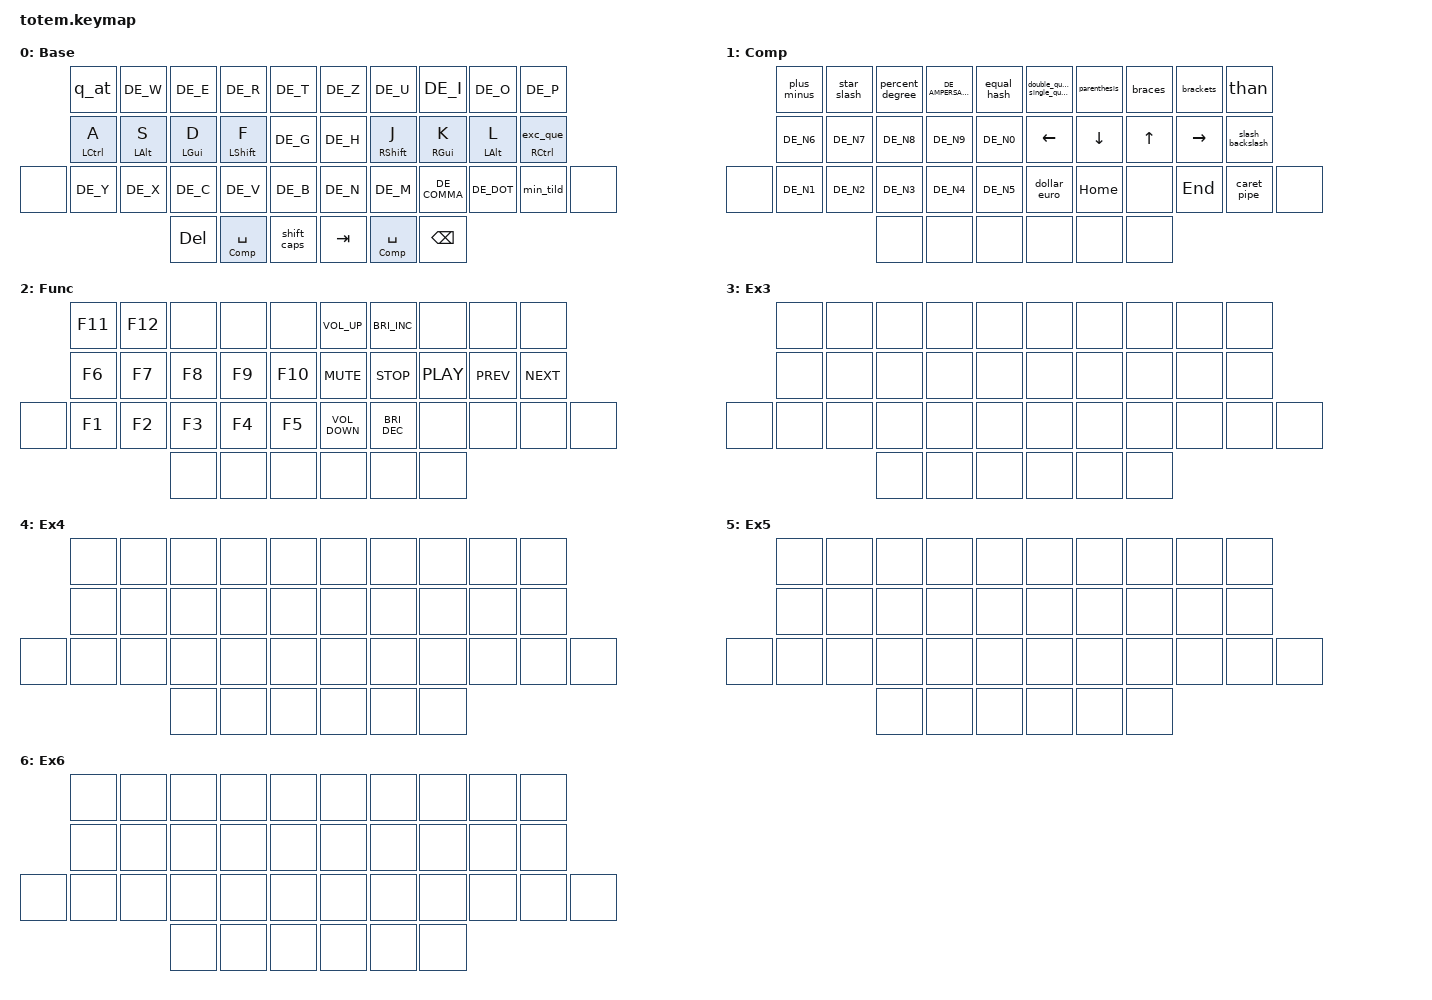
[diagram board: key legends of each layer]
//
//                                                        ▀▀▀▀▀     ▀▀▀▀▀          ▀▀█▀▀
//                                                        ▄▀▀▀▄  ▄  ▄▀▀▀▄  ▄  ▄▀▀▀▄  █  ▄▀▀▀▄
//                                                        █   █  █  █   █  █  █   █  █  █   █
//                                                         ▀▀▀   █   ▀▀▀   █   ▀▀▀   ▀   ▀▀▀
//                                                               █      ▄▄▄█▄▄▄    █   █
//                                                               ▀      █  █  █     █▄█
//                                                             ▀▀▀▀▀    █  █  █      ▀
//                                                                      ▀  ▀  ▀
//
// ▄▄▄▄▄▄▄▄▄▄▄▄▄▄▄▄▄▄▄▄▄▄▄▄▄▄▄▄▄▄▄▄▄▄▄▄▄▄▄▄▄▄▄▄▄▄▄▄▄▄▄▄▄▄▄▄▄▄▄▄▄▄▄▄▄▄▄▄▄▄▄▄▄▄▄▄▄▄▄▄▄▄▄▄▄▄▄▄▄▄▄▄▄▄▄▄▄▄▄▄▄▄▄▄▄▄▄▄▄▄▄▄▄▄▄▄▄▄▄▄▄▄▄▄▄▄▄▄▄▄▄▄▄▄▄▄▄▄▄▄▄▄▄▄▄▄▄▄▄

#include <behaviors.dtsi>
#include <dt-bindings/zmk/keys.h>
#include <dt-bindings/zmk/bt.h>
#include <dt-bindings/zmk/outputs.h>
#include <dt-bindings/zmk/ext_power.h>
#include "keys_de.h"

#define Base            0
#define Comp            1
#define Func            2
#define Ex3             3
#define Ex4             4
#define Ex5             5
#define Ex6             6

#define HM_TAPPING_TERM 300
#define HM_TAPPING_TERM_FAST 200
#define HM_PRIOR_IDLE 150

    //               0   1   2   3   4                   5   6   7   8   9
    //               10  11  12  13  14                  15  16  17  18  19
    //           20  21  22  23  24  25                  26  27  28  29  30  31
    //                       32  33  34                  35  36  37

#define KEYS_L 0 1 2 3 4 10 11 12 13 14 20 21 22 23 24 25
#define KEYS_R 5 6 7 8 9 15 16 17 18 19 26 27 28 29 30 31
#define KEYS_T 32 33 34 35 36 37

&sk {
    release-after-ms = <1000>;
    quick-release;
};

&caps_word {
    continue-list = <UNDERSCORE MINUS BSPC>;
};

/ {

    behaviors {

        macros {
           delete_word: delete_word {
                  compatible = "zmk,behavior-macro";
                  #binding-cells = <0>;
                  bindings = <&macro_press &kp RCTL>,
                             <&macro_tap &kp DELETE>,
                             <&macro_release &kp RCTL>;
           };

           backspace_word: backspace_word {
                  compatible = "zmk,behavior-macro";
                  #binding-cells = <0>;
                  bindings = <&macro_press &kp RCTL>,
                             <&macro_tap &kp BACKSPACE>,
                             <&macro_release &kp RCTL>;
           };

           krunner: krunner {
                  compatible = "zmk,behavior-macro";
                  #binding-cells = <0>;
                  bindings = <&macro_press &kp LALT>,
                             <&macro_tap &kp F2>,
                             <&macro_release &kp LALT>;
           };

           // Positional Homerow mods
           // Homerow mods that prevent accidental activations when rolling keys,
           // such as when typing `st` or `ne` on colemak-dh layouts or `as` on
           // qwerty.
           //
           // Works by only allowing a mod to activate within tapping-term if
           // it's on the opposite side of the keyboard or on the same side thumb
           // keys.

           // Further optimization using urob's timerless homerow mods method:
           // https://github.com/urob/zmk-config#timeless-homerow-mods
           hrm_l: homerow_mods_left {
               compatible = "zmk,behavior-hold-tap";
               #binding-cells = <2>;
               bindings = <&kp>,  <&kp>;

               flavor = "balanced";
               tapping-term-ms = <HM_TAPPING_TERM>;
               quick-tap-ms = <175>;                // repeat on tap-into-hold
               require-prior-idle-ms = <HM_PRIOR_IDLE>;

               hold-trigger-key-positions = <KEYS_R KEYS_T>;
               hold-trigger-on-release;
           };

           hrm_r: homerow_mods_right {
               compatible = "zmk,behavior-hold-tap";
               #binding-cells = <2>;
               bindings = <&kp>, <&kp>;

               flavor = "balanced";
               tapping-term-ms = <HM_TAPPING_TERM>;
               quick-tap-ms = <175>;
               require-prior-idle-ms = <HM_PRIOR_IDLE>;

               hold-trigger-key-positions = <KEYS_L KEYS_T>;
               hold-trigger-on-release;
           };

           exc_que: exclamation_question {
            compatible = "zmk,behavior-mod-morph";
            #binding-cells = <0>;
            bindings = <&kp DE_EXCLAMATION>, <&kp DE_QUESTION>;
            mods = <(MOD_LSFT|MOD_RSFT)>;
//            keep-mods = <(MOD_RSFT)>;
           };

           percent_degree: percent_degree {
            compatible = "zmk,behavior-mod-morph";
            #binding-cells = <0>;
            bindings = <&kp DE_PERCENT>, <&kp DE_DEGREE>;
            mods = <(MOD_LSFT|MOD_RSFT)>;
//            keep-mods = <(MOD_RSFT)>;
           };

           hrm_r_exc_que: homerow_mods_right_exclamation_question {
               compatible = "zmk,behavior-hold-tap";
               #binding-cells = <2>;
               bindings = <&kp>, <&exc_que>;

               flavor = "balanced";
               tapping-term-ms = <HM_TAPPING_TERM>;
               quick-tap-ms = <175>;
               require-prior-idle-ms = <HM_PRIOR_IDLE>;

               hold-trigger-key-positions = <KEYS_L KEYS_T>;
               hold-trigger-on-release;
           };

           // Positional Homerow mods for shift
           // Use faster tapping term and disable some features that may
           // cause false negatives.
           hrm_shift_l: home_row_mods_shift_left {
               compatible = "zmk,behavior-hold-tap";
               #binding-cells = <2>;
               bindings = <&kp>, <&kp>;

               flavor = "balanced";
               tapping-term-ms = <HM_TAPPING_TERM_FAST>;
               quick-tap-ms = <175>;
               require-prior-idle-ms = <HM_PRIOR_IDLE>;

               hold-trigger-key-positions = <KEYS_R KEYS_T>;
               // hold-trigger-on-release;
           };

           hrm_shift_r: home_row_mods_shift_right {
               compatible = "zmk,behavior-hold-tap";
               #binding-cells = <2>;
               bindings = <&kp>, <&kp>;

               flavor = "balanced";
               tapping-term-ms = <HM_TAPPING_TERM_FAST>;
               quick-tap-ms = <175>;
               require-prior-idle-ms = <HM_PRIOR_IDLE>;

               hold-trigger-key-positions = <KEYS_L KEYS_T>;
               // hold-trigger-on-release;
           };

        };

        q_at: tap_dance_0 {
            compatible = "zmk,behavior-tap-dance";
            #binding-cells = <0>;
            tapping-term-ms = <200>;
            bindings = <&kp DE_Q>, <&kp DE_AT>, <&none>;
        };
        min_tild: tap_dance_1 {
            compatible = "zmk,behavior-tap-dance";
            #binding-cells = <0>;
            tapping-term-ms = <200>;
            bindings = <&kp DE_MINUS>, <&kp DE_TILDE>, <&none>;
        };
        slash_backslash: tap_dance_2 {
            compatible = "zmk,behavior-tap-dance";
            #binding-cells = <0>;
            tapping-term-ms = <200>;
            bindings = <&kp DE_SLASH>, <&kp DE_BACKSLASH>, <&none>;
        };

        double_quote_single_quote: tap_dance_3 {
            compatible = "zmk,behavior-tap-dance";
            #binding-cells = <0>;
            tapping-term-ms = <200>;
            bindings = <&kp DE_DQT>, <&kp DE_SQT>, <&none>;
        };

        caret_pipe: tap_dance_4 {
            compatible = "zmk,behavior-tap-dance";
            #binding-cells = <0>;
            tapping-term-ms = <200>;
            bindings = <&kp DE_CARET>, <&kp DE_PIPE>, <&none>;
        };

        dollar_euro: tap_dance_5 {
            compatible = "zmk,behavior-tap-dance";
            #binding-cells = <0>;
            tapping-term-ms = <200>;
            bindings = <&kp DE_DOLLAR>, <&kp DE_EURO>, <&none>;
        };

        than: tap_dance_6 {
            compatible = "zmk,behavior-tap-dance";
            #binding-cells = <0>;
            tapping-term-ms = <200>;
            bindings = <&kp DE_LT>, <&kp DE_GT>, <&none>;
        };


        parenthesis: tap_dance_7 {
            compatible = "zmk,behavior-tap-dance";
            #binding-cells = <0>;
            tapping-term-ms = <200>;
            bindings = <&kp DE_LPAR>, <&kp DE_RPAR>, <&none>;
        };


        brackets: tap_dance_9 {
            compatible = "zmk,behavior-tap-dance";
            #binding-cells = <0>;
            tapping-term-ms = <200>;
            bindings = <&kp DE_LBKT>, <&kp DE_RBKT>, <&none>;
        };


        braces: tap_dance_8 {
            compatible = "zmk,behavior-tap-dance";
            #binding-cells = <0>;
            tapping-term-ms = <200>;
            bindings = <&kp DE_LBRC>, <&kp DE_RBRC>, <&none>;
        };

        star_slash: tap_dance_10 {
            compatible = "zmk,behavior-tap-dance";
            #binding-cells = <0>;
            tapping-term-ms = <200>;
            bindings = <&kp DE_STAR>, <&kp DE_SLASH>, <&none>;
        };

        equal_hash: tap_dance_11 {
            compatible = "zmk,behavior-tap-dance";
            #binding-cells = <0>;
            tapping-term-ms = <200>;
            bindings = <&kp DE_EQUAL>, <&kp DE_HASH>, <&none>;
        };

        plus_minus: tap_dance_12 {
            compatible = "zmk,behavior-tap-dance";
            #binding-cells = <0>;
            tapping-term-ms = <200>;
            bindings = <&kp DE_PLUS>, <&kp DE_MINUS>, <&none>;
        };

        backspace_backspaceword: tap_dance_13 {
            compatible = "zmk,behavior-tap-dance";
            #binding-cells = <0>;
            tapping-term-ms = <200>;
            bindings = <&kp BACKSPACE>, <&backspace_word>, <&none>;
        };

        delete_deleteword: tap_dance_14 {
            compatible = "zmk,behavior-tap-dance";
            #binding-cells = <0>;
            tapping-term-ms = <200>;
            bindings = <&kp DELETE>, <&delete_word>, <&none>;
        };

       gresc: grave_escape {
            compatible = "zmk,behavior-mod-morph";
            #binding-cells = <0>;
            bindings = <&kp ESC>, <&kp GRAVE>;
            mods = <(MOD_LGUI|MOD_LSFT|MOD_RGUI|MOD_RSFT)>;
        };

        shift_caps: shift_caps {
            compatible = "zmk,behavior-tap-dance";
            #binding-cells = <0>;
            tapping-term-ms = <200>;
            bindings = <&sk LSHIFT>, <&kp CAPS>, <&none>;
        };

};

    combos {
        compatible = "zmk,combos";
        combo_esc {
            timeout-ms = <50>;
            key-positions = <11 12 13>;
            bindings = <&kp ESC>;
        };
        combo_return {
            timeout-ms = <50>;
            key-positions = <16 17 18>;
            bindings = <&kp RET>;
        };
        combo_ae {
            timeout-ms = <50>;
            key-positions = <10 11>;
            bindings = <&kp DE_A_UMLAUT>;
        };
        combo_ue {
            timeout-ms = <50>;
            key-positions = <6 7>;
            bindings = <&kp DE_U_UMLAUT>;
        };
        combo_oe {
            timeout-ms = <50>;
            key-positions = <7 8>;
            bindings = <&kp DE_O_UMLAUT>;
        };
        combo_sz {
            timeout-ms = <50>;
            key-positions = <11 12>;
            bindings = <&kp DE_SZ>;
        };
        combo_gui {
            timeout-ms = <50>;
            key-positions = <32 33>;
            bindings = <&kp LGUI>;
        };
        combo_krunner{
            timeout-ms = <50>;
            key-positions = <36 37>;
            bindings = <&krunner>;
        };
        combo_func {
            timeout-ms = <50>;
            key-positions = <33 36>;
            bindings = <&tog Func>;
        };
        combo_caps {
            timeout-ms = <50>;
            key-positions = <13 16>;
            bindings = <&kp CAPSLOCK>;
        };

    };

    conditional_layers {
        compatible = "zmk,conditional-layers";
        tri_layer {
            if-layers = <1 2>;
            then-layer = <3>;
        };
    };

    //               0   1   2   3   4                   5   6   7   8   9
    //               10  11  12  13  14                  15  16  17  18  19
    //           20  21  22  23  24  25                  26  27  28  29  30  31
    //                       32  33  34                  35  36  37

    keymap {
        compatible = "zmk,keymap";

//        Base {
//            label = "Base";
//            bindings = <
//                        &q_at              &kp DE_W         &kp DE_E                &kp DE_R                &kp DE_T                  &kp DE_Z      &kp DE_U                &kp DE_I                     &kp DE_O           &kp DE_P
//                        &kp DE_A           &kp DE_S         &kp DE_D                &kp DE_F                &kp DE_G                  &kp DE_H      &kp DE_J                &kp DE_K                     &kp DE_L           &exc_que
//            &sk LCTRL   &kp DE_Y           &kp DE_X         &kp DE_C                &kp DE_V                &kp DE_B                  &kp DE_N      &kp DE_M                &kp DE_COMMA                 &kp DE_DOT         &min_tild               &sk RSFT
//                                                            &delete_deleteword      &lt Comp SPACE          &kp LALT                  &kp TAB       &lt Comp SPACE          &backspace_backspaceword
//            >;
//        };

        Base {
            label = "Base";
            bindings = <
                        &q_at              &kp DE_W         &kp DE_E                &kp DE_R                &kp DE_T                  &kp DE_Z      &kp DE_U                &kp DE_I                     &kp DE_O           &kp DE_P
                        &hrm_l LCTRL A     &hrm_l LALT S    &hrm_l LGUI D           &hrm_shift_l LSHFT F    &kp DE_G                  &kp DE_H      &hrm_shift_r RSHFT J    &hrm_r RGUI K                &hrm_r LALT L      &hrm_r_exc_que RCTRL 0
            &none       &kp DE_Y           &kp DE_X         &kp DE_C                &kp DE_V                &kp DE_B                  &kp DE_N      &kp DE_M                &kp DE_COMMA                 &kp DE_DOT         &min_tild                       &none
                                                            &kp DELETE              &lt Comp SPACE          &shift_caps               &kp TAB       &lt Comp SPACE          &kp BACKSPACE
            >;
        };

//        Func {
//            label = "Func";
//            bindings = <
//                         &none       &kp F7     &kp F8     &kp F9    &kp F10                    &none       &none       &none       &none       &none
//                         &none       &kp F4     &kp F5     &kp F6    &kp F11                    &none       &kp LSHFT   &kp LGUI    &kp LALT    &kp LCTRL
//              &trans     &none       &kp F1     &kp F2     &kp F3    &kp F12                    &none       &none       &none       &none       &none        &trans
//                                                &trans     &trans    &trans                     &trans      &trans      &trans
//            >;
//        };

//        Comp {
//            label = "Comp";
//            bindings = <
//                        &slash_backslash                &kp DE_N7      &kp DE_N8      &kp DE_N9     &caret_pipe                 &parenthesis      &kp HOME          &kp UP             &kp END            &star_slash
//                        &kp DE_N0                       &kp DE_N4      &kp DE_N5      &kp DE_N6     &dollar_euro                &braces           &kp LEFT          &kp DOWN           &kp RIGHT          &equal_hash
//            &trans      &double_quote_single_quote      &kp DE_N1      &kp DE_N2      &kp DE_N3     &than                       &brackets         &kp DE_PERCENT    &kp DE_AMPERSAND   &kp DE_DEGREE      &plus_minus       &trans
//                                                                       &trans         &trans        &trans                      &trans            &trans            &trans
//            >;
//        };


        Comp {
            label = "Comp";
            bindings = <
                        &plus_minus      &star_slash    &percent_degree   &kp DE_AMPERSAND     &equal_hash                  &double_quote_single_quote      &parenthesis      &braces            &brackets      &than
                        &kp DE_N6        &kp DE_N7      &kp DE_N8         &kp DE_N9            &kp DE_N0                    &kp LEFT                        &kp DOWN          &kp UP             &kp RIGHT      &slash_backslash
            &none       &kp DE_N1        &kp DE_N2      &kp DE_N3         &kp DE_N4            &kp DE_N5                    &dollar_euro                    &kp HOME          &none              &kp END        &caret_pipe          &none
                                                        &none             &none                &none                        &none                           &none             &none
            >;
        };

        Func {
            label = "Func";
            bindings = <
                         &kp F11    &kp F12    &none      &none     &none                      &kp C_VOLUME_UP         &kp C_BRIGHTNESS_INC       &none       &none       &none
                         &kp F6     &kp F7     &kp F8     &kp F9    &kp F10                    &kp C_MUTE              &kp C_STOP                 &kp C_PLAY  &kp C_PREV  &kp C_NEXT
              &none      &kp F1     &kp F2     &kp F3     &kp F4    &kp F5                     &kp C_VOLUME_DOWN       &kp C_BRIGHTNESS_DEC       &none       &none       &none        &none
                                               &none      &none     &none                      &none       &none       &none
            >;
        };

        Ex3 {
            label = "Ex3";
            bindings = <
                        &none       &none      &none      &none     &none                   &none       &none     &none       &none     &none
                        &none       &none      &none      &none     &none                   &none       &none     &none       &none     &none
            &none       &none       &none      &none      &none     &none                   &none       &none     &none       &none     &none        &none
                                               &none      &none     &none                   &none       &none     &none
            >;
        };

        Ex4 {
            label = "Ex4";
            bindings = <
                        &none       &none      &none      &none     &none                   &none       &none     &none       &none     &none
                        &none       &none      &none      &none     &none                   &none       &none     &none       &none     &none
            &none       &none       &none      &none      &none     &none                   &none       &none     &none       &none     &none        &none
                                               &none      &none     &none                   &none       &none     &none
            >;
        };

        Ex5 {
            label = "Ex5";
            bindings = <
                        &none       &none      &none      &none     &none                   &none       &none     &none       &none     &none
                        &none       &none      &none      &none     &none                   &none       &none     &none       &none     &none
            &none       &none       &none      &none      &none     &none                   &none       &none     &none       &none     &none        &none
                                               &none      &none     &none                   &none       &none     &none
            >;
        };

        Ex6 {
            label = "Ex6";
            bindings = <
                        &none       &none      &none      &none     &none                   &none       &none     &none       &none     &none
                        &none       &none      &none      &none     &none                   &none       &none     &none       &none     &none
            &none       &none       &none      &none      &none     &none                   &none       &none     &none       &none     &none        &none
                                               &none      &none     &none                   &none       &none     &none
            >;
        };
    };
};
